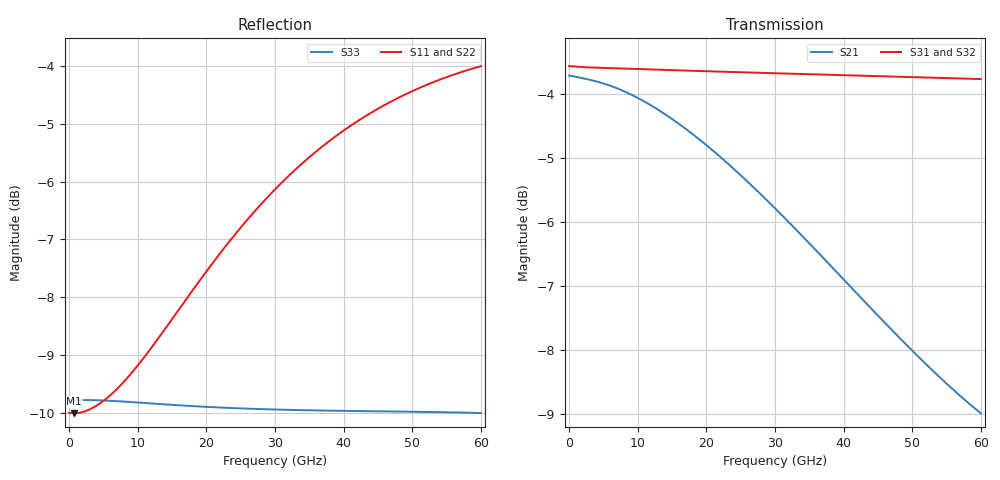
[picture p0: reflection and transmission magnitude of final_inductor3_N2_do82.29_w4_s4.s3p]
#  GHZ S DB R 50
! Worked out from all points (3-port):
!   82 points, 10 MHz to 60 GHz, reference 50 ohm
!   strongest paths, dB at 10 MHz, 14.25 GHz, 30 GHz, 45 GHz, 60 GHz:
!     S31: -3.6, -3.6, -3.7, -3.7, -3.8
!     S32: -3.6, -3.7, -3.7, -3.8, -3.8
!     S21: -3.7, -4.3, -5.8, -7.5, -9.0
!   lowest |S11| = -10.0 dB at 750 MHz (marker M1), VSWR 1.92, Z = 26 + j1.21 ohm
!   |S11| at or under -10 dB: 704 MHz to 795.7 MHz (91.77 MHz wide, 12.2 % of centre)
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0.01  -9.99 179.9  -3.71 -0.0  -3.56 -0.0
      -3.71 -0.0  -10.08 179.9  -3.60 -0.0
      -3.56 -0.0  -3.60 -0.0  -9.78 180.0
0.75  -10.00 176.2  -3.72 -1.9  -3.56 -0.3
      -3.72 -1.9  -10.09 176.1  -3.61 -0.3
      -3.56 -0.3  -3.61 -0.3  -9.78 179.4
7.5  -9.52 144.1  -3.93 -17.9  -3.59 -2.8
     -3.93 -17.9  -9.59 143.8  -3.64 -2.8
     -3.59 -2.8  -3.64 -2.8  -9.79 174.1
15.75  -8.25 112.0  -4.44 -36.6  -3.62 -5.7
       -4.44 -36.6  -8.29 111.4  -3.66 -5.8
       -3.62 -5.7  -3.66 -5.8  -9.86 168.0
23.25  -7.05 89.6  -5.09 -52.9  -3.65 -8.3
       -5.09 -52.9  -7.07 88.9  -3.69 -8.5
       -3.65 -8.3  -3.69 -8.5  -9.91 162.8
30.75  -6.05 71.7  -5.86 -68.8  -3.67 -11.0
       -5.86 -68.8  -6.05 70.9  -3.71 -11.1
       -3.67 -11.0  -3.71 -11.1  -9.94 157.6
37.5  -5.34 58.3  -6.61 -82.9  -3.69 -13.4
      -6.61 -82.9  -5.33 57.4  -3.73 -13.6
      -3.69 -13.4  -3.73 -13.6  -9.95 153.1
45.75  -4.69 44.2  -7.55 -100.0  -3.72 -16.3
       -7.55 -100.0  -4.68 43.2  -3.76 -16.6
       -3.72 -16.3  -3.76 -16.6  -9.97 147.6
52.5  -4.31 34.0  -8.28 -114.2  -3.74 -18.8
      -8.28 -114.2  -4.30 33.0  -3.78 -19.1
      -3.74 -18.8  -3.78 -19.1  -9.98 143.2
60  -4.01 23.8  -8.99 -130.1  -3.76 -21.7
    -8.99 -130.1  -4.00 22.6  -3.80 -22.1
    -3.76 -21.7  -3.80 -22.1  -10.00 138.4
